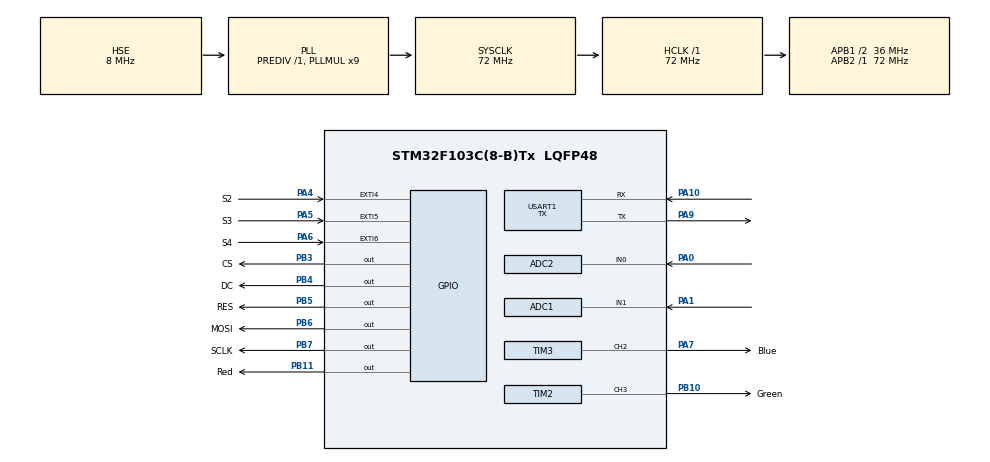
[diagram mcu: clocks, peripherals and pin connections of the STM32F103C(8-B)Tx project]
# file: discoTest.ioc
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ADC1.Channel-0\#ChannelRegularConversion=ADC_CHANNEL_1
ADC1.ContinuousConvMode=ENABLE
ADC1.NbrOfConversionFlag=1
ADC1.Rank-0\#ChannelRegularConversion=1
ADC1.SamplingTime-0\#ChannelRegularConversion=ADC_SAMPLETIME_239CYCLES_5
ADC1.master=1
ADC2.Channel-2\#ChannelRegularConversion=ADC_CHANNEL_0
ADC2.ContinuousConvMode=ENABLE
ADC2.NbrOfConversionFlag=1
ADC2.Rank-2\#ChannelRegularConversion=1
ADC2.SamplingTime-2\#ChannelRegularConversion=ADC_SAMPLETIME_1CYCLE_5
Mcu.Family=STM32F1
Mcu.Name=STM32F103C(8-B)Tx
Mcu.Package=LQFP48
NVIC.EXTI4_IRQn=true\:0\:0\:false\:false\:true\:true\:true
NVIC.EXTI9_5_IRQn=true\:0\:0\:false\:false\:true\:true\:true
NVIC.PriorityGroup=NVIC_PRIORITYGROUP_4
PA0-WKUP.Signal=ADCx_IN0
PA1.Signal=ADCx_IN1
PA10.Mode=Asynchronous
PA10.Signal=USART1_RX
PA13.Mode=Serial_Wire
PA13.Signal=SYS_JTMS-SWDIO
PA14.Mode=Serial_Wire
PA14.Signal=SYS_JTCK-SWCLK
PA4.GPIO_Label=S2
PA4.GPIO_ModeDefaultEXTI=GPIO_MODE_IT_RISING
PA4.GPIO_PuPd=GPIO_PULLUP
PA4.Signal=GPXTI4
PA5.GPIO_Label=S3
PA5.GPIO_ModeDefaultEXTI=GPIO_MODE_IT_RISING
PA5.GPIO_PuPd=GPIO_PULLUP
PA5.Signal=GPXTI5
PA6.GPIO_Label=S4
PA6.GPIO_ModeDefaultEXTI=GPIO_MODE_IT_RISING
PA6.GPIO_PuPd=GPIO_PULLUP
PA6.Signal=GPXTI6
PA7.GPIO_Label=Blue
PA7.Signal=S_TIM3_CH2
PA9.Mode=Asynchronous
PA9.Signal=USART1_TX
PB10.GPIO_Label=Green
PB10.Signal=S_TIM2_CH3
PB11.GPIO_Label=Red
PB11.Signal=GPIO_Output
PB3.GPIO_Label=CS
PB3.Signal=GPIO_Output
PB4.GPIO_Label=DC
PB4.Signal=GPIO_Output
PB5.GPIO_Label=RES
PB5.Signal=GPIO_Output
PB6.GPIO_Label=MOSI
PB6.Signal=GPIO_Output
PB7.GPIO_Label=SCLK
PB7.Signal=GPIO_Output
PD0-OSC_IN.Mode=HSE-External-Oscillator
PD0-OSC_IN.Signal=RCC_OSC_IN
PD1-OSC_OUT.Mode=HSE-External-Oscillator
PD1-OSC_OUT.Signal=RCC_OSC_OUT
ProjectManager.HeapSize=0x200
ProjectManager.StackSize=0x400
ProjectManager.TargetToolchain=MDK-ARM V5.27
RCC.ADCPresc=RCC_ADCPCLK2_DIV8
RCC.AHBFreq_Value=72000000
RCC.APB1CLKDivider=RCC_HCLK_DIV2
RCC.APB1Freq_Value=36000000
RCC.APB1TimFreq_Value=72000000
RCC.APB2Freq_Value=72000000
RCC.APB2TimFreq_Value=72000000
RCC.HCLKFreq_Value=72000000
RCC.PLLMUL=RCC_PLL_MUL9
RCC.PLLSourceVirtual=RCC_PLLSOURCE_HSE
RCC.SYSCLKFreq_VALUE=72000000
RCC.SYSCLKSource=RCC_SYSCLKSOURCE_PLLCLK
RCC.USBFreq_Value=72000000
SH.ADCx_IN0.0=ADC2_IN0,IN0
SH.ADCx_IN1.0=ADC1_IN1,IN1
SH.S_TIM2_CH3.0=TIM2_CH3,PWM Generation3 CH3
SH.S_TIM3_CH2.0=TIM3_CH2,PWM Generation2 CH2
TIM2.Channel-PWM\ Generation3\ CH3=TIM_CHANNEL_3
TIM3.Channel-PWM\ Generation2\ CH2=TIM_CHANNEL_2
USART1.Mode=MODE_TX
USART1.VirtualMode=VM_ASYNC
board=custom

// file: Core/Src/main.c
/* USER CODE BEGIN Header */
/**
  ******************************************************************************
  * @file           : main.c
  * @brief          : Main program body
  ******************************************************************************
  * @attention
  *
  * <h2><center>&copy; Copyright (c) 2021 STMicroelectronics.
  * All rights reserved.</center></h2>
  *
  * This software component is licensed by ST under BSD 3-Clause license,
  * the "License"; You may not use this file except in compliance with the
  * License. You may obtain a copy of the License at:
  *                        opensource.org/licenses/BSD-3-Clause
  *
  ******************************************************************************
  */
/* USER CODE END Header */
#include "main.h"

/* USER CODE BEGIN Includes */
#include "OLED.h"
#include <math.h>
#include <stdio.h>
/* USER CODE END Includes */

ADC_HandleTypeDef hadc1;
ADC_HandleTypeDef hadc2;

TIM_HandleTypeDef htim2;
TIM_HandleTypeDef htim3;

UART_HandleTypeDef huart1;

/* USER CODE BEGIN PV */
const float Rp=10000.0; //10K
const float T2 = (273.15+25.0);;//T2
const float Bx = 3950.0;//B
const float Ka = 273.15;
char DisplayCache1[16];
char DisplayCache2[16];
char DisplayCache3[16];
char DisplayCache4[16];
int frame;
int Emoji=1;
int UART=1;
/* USER CODE END PV */

void SystemClock_Config(void);
static void MX_GPIO_Init(void);
static void MX_ADC1_Init(void);
static void MX_ADC2_Init(void);
static void MX_TIM2_Init(void);
static void MX_USART1_UART_Init(void);
static void MX_TIM3_Init(void);
/* USER CODE BEGIN PFP */
float GetTemp(float Rt)
{
	//eg. R=5000, T2=273.15+25,B=3470, RT=5000*EXP(3470*(1/T1-1/(273.15+25)),
	float temp;
	temp = Rt/Rp;
	temp = log(temp);//ln(Rt/Rp)
	temp/=Bx;//ln(Rt/Rp)/B
	temp+=(1/T2);
	temp = 1/(temp);
	temp-=Ka;
	return temp;
}

void RunMode(int mode)
{
	char TxCache[16];
	if(mode == 1)//ADC
	{
		OLED_ShowChinese(0,0,2,16);
		OLED_ShowChinese(16,0,3,16);
		OLED_ShowChinese(32,0,4,16);
		OLED_ShowString(30,20,DisplayCache1,24);
		OLED_ShowString(96,27,"ADC",16);
		OLED_ShowString(0,52,"UART OFF",12);
		if(UART)
		{
			OLED_ShowString(0,52,"UART  ON",12);
			sprintf(TxCache,"%s\r\n",DisplayCache1);
			HAL_UART_Transmit(&huart1,TxCache,6,100);
		}
	}
	if(mode == 2)//Volt
	{
		OLED_ShowChinese(0,0,5,16);
		OLED_ShowChinese(16,0,6,16);
		OLED_ShowString(30,20,DisplayCache2,24);
		OLED_ShowString(96,27,"V",16);
		OLED_ShowString(0,52,"UART OFF",12);
		if(UART)
		{
			OLED_ShowString(0,52,"UART  ON",12);
			sprintf(TxCache,"%s\r\n",DisplayCache2);
			HAL_UART_Transmit(&huart1,TxCache,7,100);
		}
	}

	if(mode == 3)//Register
	{
		OLED_ShowChinese(0,0,7,16);
		OLED_ShowChinese(16,0,4,16);
		OLED_ShowString(30,20,DisplayCache3,24);
		OLED_ShowChinese(96,27,8,16);
		OLED_ShowString(0,52,"UART OFF",12);
		if(UART)
		{
			OLED_ShowString(0,52,"UART  ON",12);
			sprintf(TxCache,"%s\r\n",DisplayCache3);
			HAL_UART_Transmit(&huart1,TxCache,6,100);
		}

	}
	if(mode == 4)//Temp
	{
		OLED_ShowChinese(0,0,0,16);
		OLED_ShowChinese(16,0,1,16);
		OLED_ShowString(30,20,DisplayCache4,24);
		OLED_ShowChinese(96,27,9,16);
		OLED_ShowChar(104,27,'C',16);
		OLED_ShowString(0,52,"UART OFF",12);
		if(UART)
		{
			OLED_ShowString(0,52,"UART  ON",12);
			sprintf(TxCache,"%s\r\n",DisplayCache4);
			HAL_UART_Transmit(&huart1,TxCache,7,100);
		}
	}
}

/* USER CODE END PFP */

int main(void)
{

  /* MCU Configuration--------------------------------------------------------*/

  /* Reset of all peripherals, Initializes the Flash interface and the Systick. */
  HAL_Init();

  /* Configure the system clock */
  SystemClock_Config();

  /* Initialize all configured peripherals */
  MX_GPIO_Init();
  MX_ADC1_Init();
  MX_ADC2_Init();
  MX_TIM2_Init();
  MX_USART1_UART_Init();
  MX_TIM3_Init();
  /* USER CODE BEGIN 2 */
	HAL_TIM_Base_Start_IT(&htim2);
	HAL_TIM_Base_Start_IT(&htim3);
	HAL_TIM_PWM_Start(&htim3,TIM_CHANNEL_2);
	HAL_TIM_PWM_Start(&htim2,TIM_CHANNEL_3);

	OLED_Init();
	OLED_DisplayTurn(1);
	OLED_ShowString(0,0,"Calibrating...",12);
	OLED_Refresh();
	int ADValue=0;
	int ADSwitch=0;
	int Mode=0;
	int preMode=0;
	float fADValue=0;
	int i=0;
	int y=0;
	HAL_ADCEx_Calibration_Start(&hadc1);
	HAL_Delay(1000);
	HAL_ADC_Start(&hadc1);
	HAL_ADC_Start(&hadc2);

	HAL_NVIC_SetPriority(SysTick_IRQn,0,0U);
  /* USER CODE END 2 */

  /* Infinite loop */
  /* USER CODE BEGIN WHILE */
  while (1)
  {

		TIM2->CCR3 = (int)(-1.40877*(fADValue*10000/(3.3-fADValue)+140877));
		TIM3->CCR2 = (int)(-1.40877*(fADValue*10000/(3.3-fADValue)+140877));
  	  ADSwitch = HAL_ADC_GetValue(&hadc2);

  	  fADValue = 0;
	  for(y=0;y<1000;y++)
	  {
	  	  ADValue = 0;
		  for(i=0;i<100;i++)
		  {
			  ADValue += HAL_ADC_GetValue(&hadc1);
		  }
		  fADValue += (float)(ADValue/100)/4096*3.3;
	  }
	  fADValue /= 1000;
	  sprintf(DisplayCache1,"%d",ADValue/100); //ADC
	  sprintf(DisplayCache2,"%.3f",fADValue); //Volt
	  sprintf(DisplayCache3,"%.0f",fADValue*10000/(3.3-fADValue)); //Register
	  sprintf(DisplayCache4,"%.2f", GetTemp(fADValue/((3.3-fADValue)/10000))); //Temp
	  if(preMode != Mode)	OLED_Clear();
	  if(ADValue/100 >1800 && Emoji && Mode<5 )
	  {
		  OLED_ShowChar(72,0,'(',16);
		  OLED_ShowChinese(80,0,10,16);
		  OLED_ShowChar(96,0,'_',16);
		  OLED_ShowChinese(106,0,10,16);
		  OLED_ShowChar(122,0,')',16);
	  }
	  if(ADValue/100 <1800 && Emoji && Mode<5 )
	  {
		  OLED_ShowString(72,0,"(-",16);
		  OLED_ShowChinese(88,10,10,16);
		  OLED_ShowString(104,0,"-)",16);
	  }

	  if(ADSwitch <= 1024)
	  {
	  		preMode = Mode;
	  		Mode = 1;
	  }
	  if(ADSwitch > 1024 && ADSwitch < 2048)
	  {
		  	preMode = Mode;
		  	Mode = 2;
	  }
	  if(ADSwitch > 2048 && ADSwitch < 3072)
	  {
		  	preMode = Mode;
		  	Mode = 3;
	  }
	  if(ADSwitch > 3072 && ADSwitch < 4100)
	  {
		 	 preMode = Mode;
		 	 Mode = 4;
	  }
	  if(frame>0)
	  {
		  Mode = 5;
		  OLED_Refresh();
		  OLED_ShowString(0,0,"Calibrate Success!",12);
		  frame--;
		  HAL_Delay(10);
	  }
	  RunMode(Mode);
	  OLED_Refresh();

    /* USER CODE END WHILE */

  }
}

void SystemClock_Config(void)
{
  RCC_OscInitTypeDef RCC_OscInitStruct = {0};
  RCC_ClkInitTypeDef RCC_ClkInitStruct = {0};
  RCC_PeriphCLKInitTypeDef PeriphClkInit = {0};

  /** Initializes the RCC Oscillators according to the specified parameters
  * in the RCC_OscInitTypeDef structure.
  */
  RCC_OscInitStruct.OscillatorType = RCC_OSCILLATORTYPE_HSE;
  RCC_OscInitStruct.HSEState = RCC_HSE_ON;
  RCC_OscInitStruct.HSEPredivValue = RCC_HSE_PREDIV_DIV1;
  RCC_OscInitStruct.HSIState = RCC_HSI_ON;
  RCC_OscInitStruct.PLL.PLLState = RCC_PLL_ON;
  RCC_OscInitStruct.PLL.PLLSource = RCC_PLLSOURCE_HSE;
  RCC_OscInitStruct.PLL.PLLMUL = RCC_PLL_MUL9;
  if (HAL_RCC_OscConfig(&RCC_OscInitStruct) != HAL_OK)
  {
    Error_Handler();
  }
  /** Initializes the CPU, AHB and APB buses clocks
  */
  RCC_ClkInitStruct.ClockType = RCC_CLOCKTYPE_HCLK|RCC_CLOCKTYPE_SYSCLK
                              |RCC_CLOCKTYPE_PCLK1|RCC_CLOCKTYPE_PCLK2;
  RCC_ClkInitStruct.SYSCLKSource = RCC_SYSCLKSOURCE_PLLCLK;
  RCC_ClkInitStruct.AHBCLKDivider = RCC_SYSCLK_DIV1;
  RCC_ClkInitStruct.APB1CLKDivider = RCC_HCLK_DIV2;
  RCC_ClkInitStruct.APB2CLKDivider = RCC_HCLK_DIV1;

  if (HAL_RCC_ClockConfig(&RCC_ClkInitStruct, FLASH_LATENCY_2) != HAL_OK)
  {
    Error_Handler();
  }
  PeriphClkInit.PeriphClockSelection = RCC_PERIPHCLK_ADC;
  PeriphClkInit.AdcClockSelection = RCC_ADCPCLK2_DIV8;
  if (HAL_RCCEx_PeriphCLKConfig(&PeriphClkInit) != HAL_OK)
  {
    Error_Handler();
  }
}

static void MX_ADC1_Init(void)
{

  ADC_ChannelConfTypeDef sConfig = {0};

  /** Common config
  */
  hadc1.Instance = ADC1;
  hadc1.Init.ScanConvMode = ADC_SCAN_DISABLE;
  hadc1.Init.ContinuousConvMode = ENABLE;
  hadc1.Init.DiscontinuousConvMode = DISABLE;
  hadc1.Init.ExternalTrigConv = ADC_SOFTWARE_START;
  hadc1.Init.DataAlign = ADC_DATAALIGN_RIGHT;
  hadc1.Init.NbrOfConversion = 1;
  if (HAL_ADC_Init(&hadc1) != HAL_OK)
  {
    Error_Handler();
  }
  /** Configure Regular Channel
  */
  sConfig.Channel = ADC_CHANNEL_1;
  sConfig.Rank = ADC_REGULAR_RANK_1;
  sConfig.SamplingTime = ADC_SAMPLETIME_239CYCLES_5;
  if (HAL_ADC_ConfigChannel(&hadc1, &sConfig) != HAL_OK)
  {
    Error_Handler();
  }

}

static void MX_ADC2_Init(void)
{

  ADC_ChannelConfTypeDef sConfig = {0};

  /** Common config
  */
  hadc2.Instance = ADC2;
  hadc2.Init.ScanConvMode = ADC_SCAN_DISABLE;
  hadc2.Init.ContinuousConvMode = ENABLE;
  hadc2.Init.DiscontinuousConvMode = DISABLE;
  hadc2.Init.ExternalTrigConv = ADC_SOFTWARE_START;
  hadc2.Init.DataAlign = ADC_DATAALIGN_RIGHT;
  hadc2.Init.NbrOfConversion = 1;
  if (HAL_ADC_Init(&hadc2) != HAL_OK)
  {
    Error_Handler();
  }
  /** Configure Regular Channel
  */
  sConfig.Channel = ADC_CHANNEL_0;
  sConfig.Rank = ADC_REGULAR_RANK_1;
  sConfig.SamplingTime = ADC_SAMPLETIME_1CYCLE_5;
  if (HAL_ADC_ConfigChannel(&hadc2, &sConfig) != HAL_OK)
  {
    Error_Handler();
  }

}

static void MX_TIM2_Init(void)
{

  TIM_MasterConfigTypeDef sMasterConfig = {0};
  TIM_OC_InitTypeDef sConfigOC = {0};

  htim2.Instance = TIM2;
  htim2.Init.Prescaler = 0;
  htim2.Init.CounterMode = TIM_COUNTERMODE_UP;
  htim2.Init.Period = 65535;
  htim2.Init.ClockDivision = TIM_CLOCKDIVISION_DIV1;
  htim2.Init.AutoReloadPreload = TIM_AUTORELOAD_PRELOAD_DISABLE;
  if (HAL_TIM_PWM_Init(&htim2) != HAL_OK)
  {
    Error_Handler();
  }
  sMasterConfig.MasterOutputTrigger = TIM_TRGO_RESET;
  sMasterConfig.MasterSlaveMode = TIM_MASTERSLAVEMODE_DISABLE;
  if (HAL_TIMEx_MasterConfigSynchronization(&htim2, &sMasterConfig) != HAL_OK)
  {
    Error_Handler();
  }
  sConfigOC.OCMode = TIM_OCMODE_PWM1;
  sConfigOC.Pulse = 0;
  sConfigOC.OCPolarity = TIM_OCPOLARITY_HIGH;
  sConfigOC.OCFastMode = TIM_OCFAST_DISABLE;
  if (HAL_TIM_PWM_ConfigChannel(&htim2, &sConfigOC, TIM_CHANNEL_3) != HAL_OK)
  {
    Error_Handler();
  }
  HAL_TIM_MspPostInit(&htim2);

}

static void MX_TIM3_Init(void)
{

  TIM_MasterConfigTypeDef sMasterConfig = {0};
  TIM_OC_InitTypeDef sConfigOC = {0};

  htim3.Instance = TIM3;
  htim3.Init.Prescaler = 0;
  htim3.Init.CounterMode = TIM_COUNTERMODE_UP;
  htim3.Init.Period = 65535;
  htim3.Init.ClockDivision = TIM_CLOCKDIVISION_DIV1;
  htim3.Init.AutoReloadPreload = TIM_AUTORELOAD_PRELOAD_DISABLE;
  if (HAL_TIM_PWM_Init(&htim3) != HAL_OK)
  {
    Error_Handler();
  }
  sMasterConfig.MasterOutputTrigger = TIM_TRGO_RESET;
  sMasterConfig.MasterSlaveMode = TIM_MASTERSLAVEMODE_DISABLE;
  if (HAL_TIMEx_MasterConfigSynchronization(&htim3, &sMasterConfig) != HAL_OK)
  {
    Error_Handler();
  }
  sConfigOC.OCMode = TIM_OCMODE_PWM1;
  sConfigOC.Pulse = 0;
  sConfigOC.OCPolarity = TIM_OCPOLARITY_HIGH;
  sConfigOC.OCFastMode = TIM_OCFAST_DISABLE;
  if (HAL_TIM_PWM_ConfigChannel(&htim3, &sConfigOC, TIM_CHANNEL_2) != HAL_OK)
  {
    Error_Handler();
  }
  HAL_TIM_MspPostInit(&htim3);

}

static void MX_USART1_UART_Init(void)
{

  huart1.Instance = USART1;
  huart1.Init.BaudRate = 115200;
  huart1.Init.WordLength = UART_WORDLENGTH_8B;
  huart1.Init.StopBits = UART_STOPBITS_1;
  huart1.Init.Parity = UART_PARITY_NONE;
  huart1.Init.Mode = UART_MODE_TX;
  huart1.Init.HwFlowCtl = UART_HWCONTROL_NONE;
  huart1.Init.OverSampling = UART_OVERSAMPLING_16;
  if (HAL_UART_Init(&huart1) != HAL_OK)
  {
    Error_Handler();
  }

}

static void MX_GPIO_Init(void)
{
  GPIO_InitTypeDef GPIO_InitStruct = {0};

  /* GPIO Ports Clock Enable */
  __HAL_RCC_GPIOD_CLK_ENABLE();
  __HAL_RCC_GPIOA_CLK_ENABLE();
  __HAL_RCC_GPIOB_CLK_ENABLE();

  /*Configure GPIO pin Output Level */
  HAL_GPIO_WritePin(GPIOB, Red_Pin|CS_Pin|DC_Pin|RES_Pin
                          |MOSI_Pin|SCLK_Pin, GPIO_PIN_RESET);

  /*Configure GPIO pins : S2_Pin S3_Pin S4_Pin */
  GPIO_InitStruct.Pin = S2_Pin|S3_Pin|S4_Pin;
  GPIO_InitStruct.Mode = GPIO_MODE_IT_RISING;
  GPIO_InitStruct.Pull = GPIO_PULLUP;
  HAL_GPIO_Init(GPIOA, &GPIO_InitStruct);

  /*Configure GPIO pins : Red_Pin CS_Pin DC_Pin RES_Pin
                           MOSI_Pin SCLK_Pin */
  GPIO_InitStruct.Pin = Red_Pin|CS_Pin|DC_Pin|RES_Pin
                          |MOSI_Pin|SCLK_Pin;
  GPIO_InitStruct.Mode = GPIO_MODE_OUTPUT_PP;
  GPIO_InitStruct.Pull = GPIO_NOPULL;
  GPIO_InitStruct.Speed = GPIO_SPEED_FREQ_LOW;
  HAL_GPIO_Init(GPIOB, &GPIO_InitStruct);

  /* EXTI interrupt init*/
  HAL_NVIC_SetPriority(EXTI4_IRQn, 0, 0);
  HAL_NVIC_EnableIRQ(EXTI4_IRQn);

  HAL_NVIC_SetPriority(EXTI9_5_IRQn, 0, 0);
  HAL_NVIC_EnableIRQ(EXTI9_5_IRQn);

}

/* USER CODE BEGIN 4 */

void HAL_GPIO_EXTI_Callback(uint16_t GPIO_Pin)
{

	if(GPIO_Pin == S2_Pin)
	{
		Emoji = 1-Emoji;
		OLED_Clear();
		OLED_Refresh();
	}
	if(GPIO_Pin == S3_Pin)
	{
		UART = 1-UART;
		OLED_Clear();
		OLED_Refresh();
	}
	if(GPIO_Pin == S4_Pin)
	{
		OLED_Clear();

		HAL_ADC_Stop(&hadc1);
		OLED_ShowString(0,0,"Calibrate ADC1",12);
		HAL_ADCEx_Calibration_Start(&hadc1);
		HAL_ADC_Start(&hadc1);

		HAL_ADC_Stop(&hadc2);
		OLED_ShowString(0,0,"Calibrate ADC2",12);
		HAL_ADCEx_Calibration_Start(&hadc2);
		HAL_ADC_Start(&hadc2);

		OLED_Refresh();
		frame = 20;
	}

}
/* USER CODE END 4 */

void Error_Handler(void)
{
  __disable_irq();
  while (1)
  {
  }
}

/************************ (C) COPYRIGHT STMicroelectronics *****END OF FILE****/
